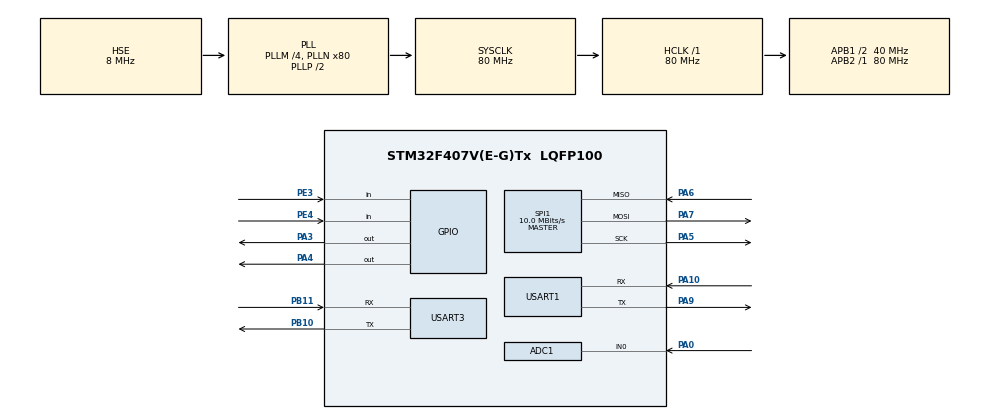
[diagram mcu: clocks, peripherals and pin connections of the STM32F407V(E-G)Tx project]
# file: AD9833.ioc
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ADC1.ContinuousConvMode=ENABLE
ADC1.NbrOfConversionFlag=1
ADC1.master=1
Dma.ADC1.0.Direction=DMA_PERIPH_TO_MEMORY
Dma.ADC1.0.FIFOMode=DMA_FIFOMODE_DISABLE
Dma.ADC1.0.Instance=DMA2_Stream0
Dma.ADC1.0.MemDataAlignment=DMA_MDATAALIGN_HALFWORD
Dma.ADC1.0.MemInc=DMA_MINC_ENABLE
Dma.ADC1.0.Mode=DMA_NORMAL
Dma.ADC1.0.PeriphDataAlignment=DMA_PDATAALIGN_HALFWORD
Dma.ADC1.0.PeriphInc=DMA_PINC_DISABLE
Dma.ADC1.0.Priority=DMA_PRIORITY_LOW
Dma.Request0=ADC1
Mcu.Family=STM32F4
Mcu.Name=STM32F407V(E-G)Tx
Mcu.Package=LQFP100
NVIC.DMA2_Stream0_IRQn=true\:0\:0\:false\:false\:true\:false\:true\:true
NVIC.PriorityGroup=NVIC_PRIORITYGROUP_4
NVIC.TIM2_IRQn=true\:0\:0\:false\:false\:true\:true\:true\:true
NVIC.TIM6_DAC_IRQn=true\:0\:0\:false\:false\:true\:true\:true\:true
NVIC.USART3_IRQn=true\:0\:0\:false\:false\:true\:true\:true\:true
PA0-WKUP.Signal=ADCx_IN0
PA10.Mode=Asynchronous
PA10.Signal=USART1_RX
PA13.Mode=Serial_Wire
PA13.Signal=SYS_JTMS-SWDIO
PA14.Mode=Serial_Wire
PA14.Signal=SYS_JTCK-SWCLK
PA3.Signal=GPIO_Output
PA4.PinState=GPIO_PIN_RESET
PA4.Signal=GPIO_Output
PA5.Mode=Full_Duplex_Master
PA5.Signal=SPI1_SCK
PA6.Mode=Full_Duplex_Master
PA6.Signal=SPI1_MISO
PA7.Mode=Full_Duplex_Master
PA7.Signal=SPI1_MOSI
PA9.Mode=Asynchronous
PA9.Signal=USART1_TX
PB10.Mode=Asynchronous
PB10.Signal=USART3_TX
PB11.Mode=Asynchronous
PB11.Signal=USART3_RX
PE3.GPIO_PuPd=GPIO_PULLUP
PE3.Signal=GPIO_Input
PE4.GPIO_PuPd=GPIO_PULLUP
PE4.Signal=GPIO_Input
PH0-OSC_IN.Mode=HSE-External-Oscillator
PH0-OSC_IN.Signal=RCC_OSC_IN
PH1-OSC_OUT.Mode=HSE-External-Oscillator
PH1-OSC_OUT.Signal=RCC_OSC_OUT
ProjectManager.HeapSize=0x200
ProjectManager.StackSize=0x400
ProjectManager.TargetToolchain=MDK-ARM V5.32
RCC.48MHZClocksFreq_Value=40000000
RCC.AHBFreq_Value=80000000
RCC.APB1CLKDivider=RCC_HCLK_DIV2
RCC.APB1Freq_Value=40000000
RCC.APB1TimFreq_Value=80000000
RCC.APB2Freq_Value=80000000
RCC.APB2TimFreq_Value=80000000
RCC.CortexFreq_Value=80000000
RCC.HCLKFreq_Value=80000000
RCC.HSE_VALUE=8000000
RCC.HSI_VALUE=16000000
RCC.LSE_VALUE=32768
RCC.PLLM=4
RCC.PLLN=80
RCC.PLLSourceVirtual=RCC_PLLSOURCE_HSE
RCC.SYSCLKFreq_VALUE=80000000
RCC.SYSCLKSource=RCC_SYSCLKSOURCE_PLLCLK
RCC.VCOOutputFreq_Value=160000000
SH.ADCx_IN0.0=ADC1_IN0,IN0
SPI1.BaudRatePrescaler=SPI_BAUDRATEPRESCALER_8
SPI1.CLKPolarity=SPI_POLARITY_HIGH
SPI1.CalculateBaudRate=10.0 MBits/s
SPI1.Direction=SPI_DIRECTION_2LINES
SPI1.Mode=SPI_MODE_MASTER
SPI1.VirtualType=VM_MASTER
TIM2.AutoReloadPreload=TIM_AUTORELOAD_PRELOAD_ENABLE
TIM2.Period=1000-1
TIM2.Prescaler=4000-1
TIM2.TIM_MasterOutputTrigger=TIM_TRGO_UPDATE
TIM6.Period=1000-1
TIM6.Prescaler=800-1
USART1.VirtualMode=VM_ASYNC
USART3.VirtualMode=VM_ASYNC
VP_TIM2_VS_ClockSourceINT.Mode=Internal
VP_TIM6_VS_ClockSourceINT.Mode=Enable_Timer
board=custom

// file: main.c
/* USER CODE BEGIN Header */
/**
  ******************************************************************************
  * @file           : main.c
  * @brief          : Main program body
  ******************************************************************************
  * @attention
  *
  * Copyright (c) 2025 STMicroelectronics.
  * All rights reserved.
  *
  * This software is licensed under terms that can be found in the LICENSE file
  * in the root directory of this software component.
  * If no LICENSE file comes with this software, it is provided AS-IS.
  *
  ******************************************************************************
  */
/* USER CODE END Header */
#include "main.h"
#include "adc.h"
#include "dma.h"
#include "spi.h"
#include "tim.h"
#include "usart.h"
#include "gpio.h"

/* USER CODE BEGIN Includes */
#include "ad9833.h"
#include "interrupt.h"
#include "math.h"
#include "myusart.h"
#include "string.h"
#include "HMI.h"
#include "string.h"
#include "stdio.h"
#include "stdlib.h"
/* USER CODE END Includes */

/* USER CODE BEGIN PTD */

#define FRQ_out 1000
#define FRQ_2V 55			//（3）
#define VALUE_out  200

#define SAMPLE_NUM 5000

void key_proc(void);
void uart_proc(void);

float calculateVoltageFromGain(float gain);

/* USER CODE END PTD */

/* USER CODE BEGIN PD */
extern struct keys key[2];
extern uint8_t rx,pointer;
extern char data_rx[30];
/* USER CODE END PD */

/* USER CODE BEGIN PM */
char flag_SP=0;
uint8_t view=5;
uint32_t frq_now=FRQ_out;
double frq_fakui_1=0;
uint16_t adc_buf[SAMPLE_NUM];
float data_value[1000];
uint8_t Value_now=0;
uint8_t num_1=0,num_2=0;
 float vpp=0;
 uint16_t data_poin=0;
uint16_t parseInt(const char *str);
uint8_t Data[31][12]={	{13,15,16,18,19,20,22,23,25,26,28},//100hz
						{14,15,16,18,19,21,22,24,25,27,28},//200hz
						{14,16,18,19,21,22,24,25,27,28,30},//300hz
						{15,17,19,20,22,24,25,27,29,31,32},//400hz
						{17,19,21,22,24,26,28,30,32,33,35},//500hz
						{18,20,22,24,26,28,30,32,34,36,38},//600hz
						{20,22,24,27,29,31,33,35,37,40,42},//700hz
						{22,24,27,29,31,34,36,39,41,44,46},//800hz
						{24,27,29,32,34,37,39,42,45,47,50},//900hz
						{26,29,32,35,37,40,43,46,49,52,55},//1000hz
						{28,31,34,38,40,44,47,50,53,56,59},//1100hz
						{31,34,38,41,44,47,51,54,57,61,64},//1200hz
						{34,37,41,45,48,52,55,58,62,66,69},//1300hz
						{36,40,43,47,51,55,59,63,67,71,74},//1400hz
						{39,43,47,51,55,59,63,67,72,76,80},//1500hz
						{41,46,50,55,59,63,68,72,77,81,85},//1600hz
						{44,49,54,58,63,68,72,77,82,87,91},//1700hz
						{47,52,57,62,67,72,77,82,87,92,97},//1800hz
						{50,56,61,66,71,77,82,87,93,98,103},//1900hz
						{53,59,65,70,75,81,87,92,99,104,110},//2000hz
						{57,63,69,75,81,87,93,98,105,111,116},//2100hz
						{59,67,73,79,85,91,98,104,111,117,123},//2200hz
						{63,70,77,84,90,97,103,110,117,124,130},//2300hz
						{66,74,81,88,94,102,109,116,124,131,137},//2400hz
						{70,78,86,93,100,107,115,122,131,138,145},//2500hz
						{74,82,90,98,105,113,121,129,137,145,153},//2600hz
						{78,86,94,102,110,119,127,136,144,153,160},//2700hz
						{81,90,99,108,116,124,133,143,152,160,168},//2800hz
						{86,95,104,113,121,130,140,149,159,168,176},//2900hz
						{91,100,109,118,126,136,147,157,165,174,184},//3000hz
						{0}	//NULL
};

//#define DATA_SIZE 600
//#define HYSTERESIS 0.05f // 迟滞阈值防止噪声误判
//#define MIN_CROSSING_DIST 10 // 最小有效穿越间隔

//// 滤波器类型定义（使用整数常量）
//#define FILTER_UNKNOWN 0
//#define FILTER_LOW_PASS 1
//#define FILTER_HIGH_PASS 2
//#define FILTER_BAND_PASS 3
//#define FILTER_BAND_STOP 4

//// 简化的移动平均（边界安全）
//void simple_smooth(float* data, int size) {
//    for (int i = 1; i < size - 1; i++) {
//        data[i] = (data[i-1] + data[i] + data[i+1]) / 3.0f;
//    }
//}

//// 检测有效穿越点
//int find_crossings(float* data, int size, float threshold, int* crossings) {
//    int count = 0;
//    uint8_t last_state = (data[0] > threshold) ? 1 : 0;
//    uint8_t stable_count = 0;
//
//    for (int i = 1; i < size; i++) {
//        uint8_t current_state = (data[i] > threshold) ? 1 : 0;
//
//        // 状态变化检测
//        if (current_state != last_state) {
//            stable_count++;
//
//            // 确认稳定穿越
//            if (stable_count >= 3) {
//                // 检查与前一个穿越点的距离
//                if (count == 0 || (i - crossings[count-1]) > MIN_CROSSING_DIST) {
//                    crossings[count] = i;
//                    count++;
//                    if (count >= 4) break; // 最多检测4个点
//                }
//                last_state = current_state;
//                stable_count = 0;
//            }
//        } else {
//            stable_count = 0;
//        }
//    }
//    return count;
//}

//// 返回值改为 int 类型
// float min_val = 3.3f, max_val = 0.0f;
//int identify_filter(float* data) {
//    // 1. 简化平滑处理
//    simple_smooth(data, DATA_SIZE);
//
//    // 2. 计算特征阈值（最大最小值的中间值）
//
//    for (int i = 0; i < DATA_SIZE; i++) {
//        if (data[i] < min_val) min_val = data[i];
//        if (data[i] > max_val) max_val = data[i];
//    }
//    float threshold = (min_val + max_val) * 0.5f;
//
//    // 3. 检测穿越点
//    int crossings[4] = {0}; // 存储穿越点位置
//    int cross_count = find_crossings(data, DATA_SIZE, threshold, crossings);
//
//    // 4. 根据穿越点判断类型
//    if (cross_count == 0) {
//        // 无穿越：全通或测量错误
//        return FILTER_UNKNOWN;
//    }
//    else if (cross_count == 1) {
//        // 单穿越：低通或高通
//        // 检查穿越方向（从高到低为低通，从低到高为高通）
//        int idx = crossings[0];
//        if (idx > 10 && idx < DATA_SIZE - 10) {
//            float left_avg = (data[idx-5] + data[idx-4] + data[idx-3]) / 3.0f;
//            float right_avg = (data[idx+3] + data[idx+4] + data[idx+5]) / 3.0f;
//
//            if (left_avg > threshold && right_avg < threshold) {
//                return FILTER_LOW_PASS; // 从高到低
//            }
//            else if (left_avg < threshold && right_avg > threshold) {
//                return FILTER_HIGH_PASS; // 从低到高
//            }
//        }
//    }
//    else if (cross_count >= 2) {
//        // 多穿越：带通或带阻
//        int first_dir = (data[crossings[0]-1] < threshold) ? 1 : -1; // 1: 上升, -1:下降
//        int second_dir = (data[crossings[1]-1] < threshold) ? 1 : -1;
//
//        // 带通：先上升后下降
//        if (first_dir == 1 && second_dir == -1) {
//            return FILTER_BAND_PASS;
//        }
//        // 带阻：先下降后上升
//        else if (first_dir == -1 && second_dir == 1) {
//            return FILTER_BAND_STOP;
//        }
//    }
//
//    return FILTER_UNKNOWN;
//}
void smooth_array(float* arr, uint32_t len, uint32_t window_size)
{
    // 参数校验
    if (arr == NULL || len == 0 || window_size == 0)
        return;

    // 窗口大小不能超过数组长度
    if (window_size > len)
        window_size = len;

    // 分配临时存储空间
    float* temp = (float*)malloc(len * sizeof(float));
    if (temp == NULL)
        return;  // 内存分配失败

    uint32_t half_win = window_size / 2;

    for (uint32_t i = 0; i < len; i++)
    {
        // 计算当前点的有效窗口边界
        uint32_t start = (i >= half_win) ? (i - half_win) : 0;
        uint32_t end = (i + half_win < len) ? (i + half_win) : (len - 1);

        // 计算动态窗口内的平均值
        float sum = 0.0f;
        uint32_t count = 0;

        for (uint32_t j = start; j <= end; j++)
        {
            sum += arr[j];
            count++;
        }

        temp[i] = sum / (float)count;
    }

    // 将结果复制回原数组
    memcpy(arr, temp, len * sizeof(float));

    // 释放临时空间
    free(temp);
}

uint8_t classify_by_passband(float* db, int len) {
    if (len < 5) return 0;  // 太短无法判断

    float max_val = -2;
    float min_val = 5;

    for (int i = 0; i < len; i++) {
        if (db[i] > max_val) max_val = db[i];
        if (db[i] < min_val) min_val = db[i];
    }

    float cut_db_v = max_val * 0.707f;
    float notch_check = min_val * 1.414f;

    int rise_index = -1;
    int fall_index = -1;
    int notch_count = 0;

    // 寻找穿越点和 notch 点数
    for (int i = 1; i < len - 1; i++) {
        // 上升穿越 -3dB
        if (db[i - 1] < cut_db_v && db[i] >= cut_db_v && rise_index == -1) {
            rise_index = i;
        }
        // 下降穿越 -3dB
        if (db[i - 1] > cut_db_v && db[i] <= cut_db_v) {
            fall_index = i;
        }

        // 统计凹陷区域（避免把带阻误识为高/低通）
        if (db[i] < notch_check) {
            notch_count++;
        }
    }

    // 判断类型
    if (rise_index == -1 && fall_index != -1) {
        return 2; // 低通（只有下降）
    } else if (rise_index != -1 && fall_index == -1) {
        return 1; // 高通（只有上升）
    } else if (rise_index != -1 && fall_index != -1) {
        if (rise_index < fall_index) {
            return 3; // 带通（先升后降）
        } else {
            return 4; // 带阻（先降后升）
        }
    }

    return 5; // 平坦或无法判断
}

void HAL_ADC_ConvCpltCallback(ADC_HandleTypeDef* hadc) {
    if (hadc->Instance == ADC1) {
		frq_fakui_1+=200;

		AD9833_FreqSet((uint32_t)frq_fakui_1);
		AD9833_FreqSet((uint32_t)frq_fakui_1);

        uint16_t max_val=0 , min_val=4096 ;
        for (uint32_t i = 0; i < SAMPLE_NUM; i++) {
            if (adc_buf[i] > max_val) max_val = adc_buf[i];
            if (adc_buf[i] < min_val) min_val = adc_buf[i];
        }
		vpp = (max_val - min_val) * 3.3f / 4095.0f;
		data_value[data_poin++]=vpp;

		if(frq_fakui_1>=60000)
		{
			flag_SP=0;
//			 smooth_array(data_value, data_poin, 5);
			uint8_t type=classify_by_passband(data_value,data_poin);
			data_poin=0;
			for(int i=0;i<1000;i++)
			{
				data_value[i]=0;
			}
			char dat_text[50];
			if(type==1)
			sprintf(dat_text,"GAOTONG");
			else if(type==2)
			sprintf(dat_text,"DITONG");
			else if(type==3)
			sprintf(dat_text,"DAITONG");
			else if(type==4)
			sprintf(dat_text,"DAIZHU");
			else if(type==5)
			sprintf(dat_text,"ERROR");
			HMI_send_string("t20.txt",dat_text);
			HMI_send_string("t20.txt",dat_text);
		}

    }
}

/* USER CODE END PM */

void SystemClock_Config(void);

/* USER CODE BEGIN 0 */
float value;
/* USER CODE END 0 */

int main(void)
{

  /* MCU Configuration--------------------------------------------------------*/

  /* Reset of all peripherals, Initializes the Flash interface and the Systick. */
  HAL_Init();

  /* Configure the system clock */
  SystemClock_Config();

  /* Initialize all configured peripherals */
  MX_GPIO_Init();
  MX_DMA_Init();
  MX_TIM6_Init();
  MX_USART1_UART_Init();
  MX_USART3_UART_Init();
  MX_ADC1_Init();
  MX_TIM2_Init();
  MX_SPI1_Init();
  /* USER CODE BEGIN 2 */
  AD9833_GPIOinit();
  AD9833_CtrlSet(0,0,0,0);//初始化正弦波

	AD9833_FreqSet(FRQ_out);
	AD9833_FreqSet(FRQ_out);	//初始输出频率

  AD9833_AmpSet(VALUE_out);
  AD9833_AmpSet(VALUE_out);	//初始输出电压

  HAL_TIM_Base_Start_IT(&htim6);		//按键控制

  HAL_TIM_Base_Start_IT(&htim2);		//adc采样间隔100hz

  HAL_UART_Receive_IT(&huart3,&rx,1);		//串口屏接收

  /* USER CODE END 2 */

  /* Infinite loop */
  while (1)
  {

    /* USER CODE BEGIN 3 */
	  key_proc();
	  if(pointer>0)
	  {
		  uint8_t temp=pointer;
		  HAL_Delay(1);
		  if(temp==pointer)
		  {
			  uart_proc();
		  }
}
  }
  /* USER CODE END 3 */
}

void SystemClock_Config(void)
{
  RCC_OscInitTypeDef RCC_OscInitStruct = {0};
  RCC_ClkInitTypeDef RCC_ClkInitStruct = {0};

  /** Configure the main internal regulator output voltage
  */
  __HAL_RCC_PWR_CLK_ENABLE();
  __HAL_PWR_VOLTAGESCALING_CONFIG(PWR_REGULATOR_VOLTAGE_SCALE1);

  /** Initializes the RCC Oscillators according to the specified parameters
  * in the RCC_OscInitTypeDef structure.
  */
  RCC_OscInitStruct.OscillatorType = RCC_OSCILLATORTYPE_HSE;
  RCC_OscInitStruct.HSEState = RCC_HSE_ON;
  RCC_OscInitStruct.PLL.PLLState = RCC_PLL_ON;
  RCC_OscInitStruct.PLL.PLLSource = RCC_PLLSOURCE_HSE;
  RCC_OscInitStruct.PLL.PLLM = 4;
  RCC_OscInitStruct.PLL.PLLN = 80;
  RCC_OscInitStruct.PLL.PLLP = RCC_PLLP_DIV2;
  RCC_OscInitStruct.PLL.PLLQ = 4;
  if (HAL_RCC_OscConfig(&RCC_OscInitStruct) != HAL_OK)
  {
    Error_Handler();
  }

  /** Initializes the CPU, AHB and APB buses clocks
  */
  RCC_ClkInitStruct.ClockType = RCC_CLOCKTYPE_HCLK|RCC_CLOCKTYPE_SYSCLK
                              |RCC_CLOCKTYPE_PCLK1|RCC_CLOCKTYPE_PCLK2;
  RCC_ClkInitStruct.SYSCLKSource = RCC_SYSCLKSOURCE_PLLCLK;
  RCC_ClkInitStruct.AHBCLKDivider = RCC_SYSCLK_DIV1;
  RCC_ClkInitStruct.APB1CLKDivider = RCC_HCLK_DIV2;
  RCC_ClkInitStruct.APB2CLKDivider = RCC_HCLK_DIV1;

  if (HAL_RCC_ClockConfig(&RCC_ClkInitStruct, FLASH_LATENCY_2) != HAL_OK)
  {
    Error_Handler();
  }
}

/* USER CODE BEGIN 4 */
//uint16_t data=Start_value;
uint8_t num_11=0;

void key_proc(void)
{
    if(key[0].single_flag==1)
    {
        key[0].single_flag=0;
    }
    if(key[1].single_flag==1)
    {
        key[1].single_flag=0;
    }
}

uint16_t parseInt(const char *str) //处理键盘数据
{
    uint16_t num = 0;
	if(str[pointer-1]=='|')pointer--;
    for (int i = 1;i<pointer; i++) {
		if(str[i]=='.') continue;
        num = num * 10 + (str[i] - '0'); // 逐位转换
    }
    return num;
}

void uart_proc(void)
{
	if(data_rx[0]>='0'&&data_rx[0]<='4')
	{
		view=data_rx[0]-'0';
		char dd[50];
		sprintf(dd,"OK");
		if(view==0)								//基本二---->不同frq3V+
		{
			AD9833_AmpSet(250);
			AD9833_AmpSet(250);

			HMI_send_string("t6.txt",dd);
			HMI_send_string("t6.txt",dd);

			frq_now=1000;
			sprintf(dd,"%dHz",frq_now);
			HMI_send_string("t1.txt",dd);

			AD9833_FreqSet(frq_now);
			AD9833_FreqSet(frq_now);
		}
		else if(view==1)						//基本三---->1khz2v
		{
			HMI_send_string("t7.txt",dd);
			HMI_send_string("t7.txt",dd);
		}
		else if(view==2)						//基本四//1khz,1v
		{
			HMI_send_string("t8.txt",dd);
			HMI_send_string("t8.txt",dd);		//OK

			frq_now=1000;
			sprintf(dd,"%dHz",frq_now);
			HMI_send_string("t4.txt",dd);
			AD9833_FreqSet(frq_now);
			AD9833_FreqSet(frq_now);

			sprintf(dd,"1V");
			Value_now=10;
			num_2=0;
			HMI_send_string("t5.txt",dd);

			AD9833_AmpSet(Data[9][num_2]);
			AD9833_AmpSet(Data[9][num_2]);
		}
		else if(view==3)					//发挥一
		{
			sprintf(dd,"OK%d",num_11++);
			HMI_send_string("t9.txt",dd);
			HMI_send_string("t9.txt",dd);
		}
		else if(view==4)					//发挥二
		{
			HMI_send_string("t10.txt",dd);
			HMI_send_string("t10.txt",dd);
			frq_now=20000;
			HAL_Delay(2000);

			AD9833_FreqSet(frq_now);
			AD9833_FreqSet(frq_now);

			AD9833_AmpSet(80);
			AD9833_AmpSet(80);
		}
	}
	else if(view==0)								//基础二通信
	{
	char dat_text[50];
	if(strcmp(data_rx,"(2)set1khz")==0)
	{
		frq_now=1000;
		sprintf(dat_text,"%dHz",frq_now);
		HMI_send_string("t1.txt",dat_text);
		AD9833_FreqSet(frq_now);
		AD9833_FreqSet(frq_now);
	}
	else if(strcmp(data_rx,"(2)set10khz")==0)
	{
		frq_now=10000;
		sprintf(dat_text,"%dHz",frq_now);
		HMI_send_string("t1.txt",dat_text);
		AD9833_FreqSet(frq_now);
		AD9833_FreqSet(frq_now);
	}
	else if(strcmp(data_rx,"(2)set100khz")==0)
	{
		frq_now=100000;
		sprintf(dat_text,"%dHz",frq_now);
		HMI_send_string("t1.txt",dat_text);
		AD9833_FreqSet(frq_now);
		AD9833_FreqSet(frq_now);
	}
	else if(strcmp(data_rx,"(2)set1mhz")==0)
	{
		frq_now=1000000;
		sprintf(dat_text,"%dHz",frq_now);
		HMI_send_string("t1.txt",dat_text);
		AD9833_FreqSet(frq_now);
		AD9833_FreqSet(frq_now);
	}
	else if(strcmp(data_rx,"(2)add100hz")==0)
	{
		frq_now+=100;
		sprintf(dat_text,"%dHz",frq_now);
		HMI_send_string("t1.txt",dat_text);
		AD9833_FreqSet(frq_now);
		AD9833_FreqSet(frq_now);
	}
	else if(strcmp(data_rx,"(2)reduce100hz")==0)
	{
		frq_now-=100;
		sprintf(dat_text,"%dHz",frq_now);
		HMI_send_string("t1.txt",dat_text);
		AD9833_FreqSet(frq_now);
		AD9833_FreqSet(frq_now);
	}
	}
	else if(view==1)				//基础三通信
	{
	char dat_text[50];
	if(strcmp(data_rx,"(3)start")==0)
	{
		frq_now=1000;
		sprintf(dat_text,"OK");
		HMI_send_string("t3.txt",dat_text);

		AD9833_FreqSet(frq_now);
		AD9833_FreqSet(frq_now);

		AD9833_AmpSet(FRQ_2V);
		AD9833_AmpSet(FRQ_2V);
	}
	}
	else if(view==2)					//基础四通信
	{
	char dat_text[50];
	if(strcmp(data_rx,"(4)set100hz")==0)
	{
		frq_now=100;
		sprintf(dat_text,"%dHz",frq_now);
		HMI_send_string("t4.txt",dat_text);

		AD9833_FreqSet(frq_now);
		AD9833_FreqSet(frq_now);

		AD9833_AmpSet(Data[0][num_2]);
		AD9833_AmpSet(Data[0][num_2]);
	}
	else if(strcmp(data_rx,"(4)set2khz")==0)
	{
		frq_now=2000;
		sprintf(dat_text,"%dHz",frq_now);
		HMI_send_string("t4.txt",dat_text);

		AD9833_FreqSet(frq_now);
		AD9833_FreqSet(frq_now);

		HAL_Delay(10);
		AD9833_AmpSet(Data[19][num_2]);
		AD9833_AmpSet(Data[19][num_2]);
	}
	else if(strcmp(data_rx,"(4)add100hz")==0)
	{
		frq_now+=100;
		if(frq_now>3000) frq_now=3000;
		sprintf(dat_text,"%dHz",frq_now);
		HMI_send_string("t4.txt",dat_text);
		AD9833_FreqSet(frq_now);
		AD9833_FreqSet(frq_now);

		num_1=frq_now/100-1;

		AD9833_AmpSet(Data[num_1][num_2]);
		AD9833_AmpSet(Data[num_1][num_2]);
	}
	else if(strcmp(data_rx,"(4)reduce100hz")==0)
	{
		frq_now-=100;
		if(frq_now<100)frq_now=100;
		sprintf(dat_text,"%dHz",frq_now);
		HMI_send_string("t4.txt",dat_text);

		AD9833_FreqSet(frq_now);
		AD9833_FreqSet(frq_now);

		num_1=frq_now/100-1;
		AD9833_AmpSet(Data[num_1][num_2]);
		AD9833_AmpSet(Data[num_1][num_2]);
	}
	else if(strcmp(data_rx,"(4)set2v")==0)
	{
		num_1=frq_now/100-1;
		num_2=10;
		sprintf(dat_text,"2V");
		Value_now=20;
		HMI_send_string("t5.txt",dat_text);

		AD9833_AmpSet(Data[num_1][num_2]);
		AD9833_AmpSet(Data[num_1][num_2]);
	}
	else if(strcmp(data_rx,"(4)set1v")==0)
	{
		num_1=frq_now/100-1;
		num_2=0;
		sprintf(dat_text,"1V");
		Value_now=10;
		HMI_send_string("t5.txt",dat_text);

		AD9833_AmpSet(Data[num_1][num_2]);
		AD9833_AmpSet(Data[num_1][num_2]);
	}
	else if(strcmp(data_rx,"(4)add0.1v")==0)
	{
		Value_now+=1;
		if(Value_now>20)Value_now=20;
		num_1=frq_now/100-1;
		num_2=Value_now-10;
		sprintf(dat_text,"%.2fV",Value_now*1.0/10);
		HMI_send_string("t5.txt",dat_text);
		AD9833_AmpSet(Data[num_1][num_2]);
		AD9833_AmpSet(Data[num_1][num_2]);
	}
	else if(strcmp(data_rx,"(4)reduce0.1v")==0)
	{
		Value_now-=1;
		if(Value_now<10)Value_now=10;
		num_1=frq_now/100-1;
		num_2=Value_now-10;
		sprintf(dat_text,"%.2fV",Value_now*1.0/10);
		HMI_send_string("t5.txt",dat_text);
		AD9833_AmpSet(Data[num_1][num_2]);
		AD9833_AmpSet(Data[num_1][num_2]);
	}
	else					//键盘设置频率以及幅度值
	{
		uint16_t  set_num=0;
		set_num=parseInt(data_rx);
		if(set_num<50)			//解析幅度值
		{
			num_1=frq_now/100-1;
			num_2=set_num-10;
			Value_now=num_2;

			AD9833_AmpSet(Data[num_1][num_2]);
			AD9833_AmpSet(Data[num_1][num_2]);

		}
		else					//解析频率值
		{
			uint16_t min,max;
			min=set_num/100*100;
			max=min+100;
			if((max-set_num)>=(set_num-min))
			{
				frq_now=min;
			}
			else
			{
				frq_now=max;
			}

			AD9833_FreqSet(frq_now);
			AD9833_FreqSet(frq_now);

			num_1=frq_now/100-1;
			AD9833_AmpSet(Data[num_1][num_2]);
			AD9833_AmpSet(Data[num_1][num_2]);

		}
	}
	}
	else if(view==3)
	{
		if(strcmp(data_rx,"high(1)start")==0)
		{
		char dat_text[30];
		sprintf(dat_text,"Wait...");
		HMI_send_string("t20.txt",dat_text);

		AD9833_AmpSet(200);
		AD9833_AmpSet(200);

		frq_fakui_1=500;
		AD9833_FreqSet(frq_fakui_1);
		AD9833_FreqSet(frq_fakui_1);

		flag_SP=1;

		}
	}
	else if(view==4)
	{

//			for(int i=0;i<255;i++)
//			{
//				AD9833_AmpSet(i);
//				AD9833_AmpSet(i);
//
//			}

	}
	memset(data_rx,0,30);
	pointer=0;
}

/* USER CODE END 4 */

void Error_Handler(void)
{
  __disable_irq();
  while (1)
  {
  }
}
